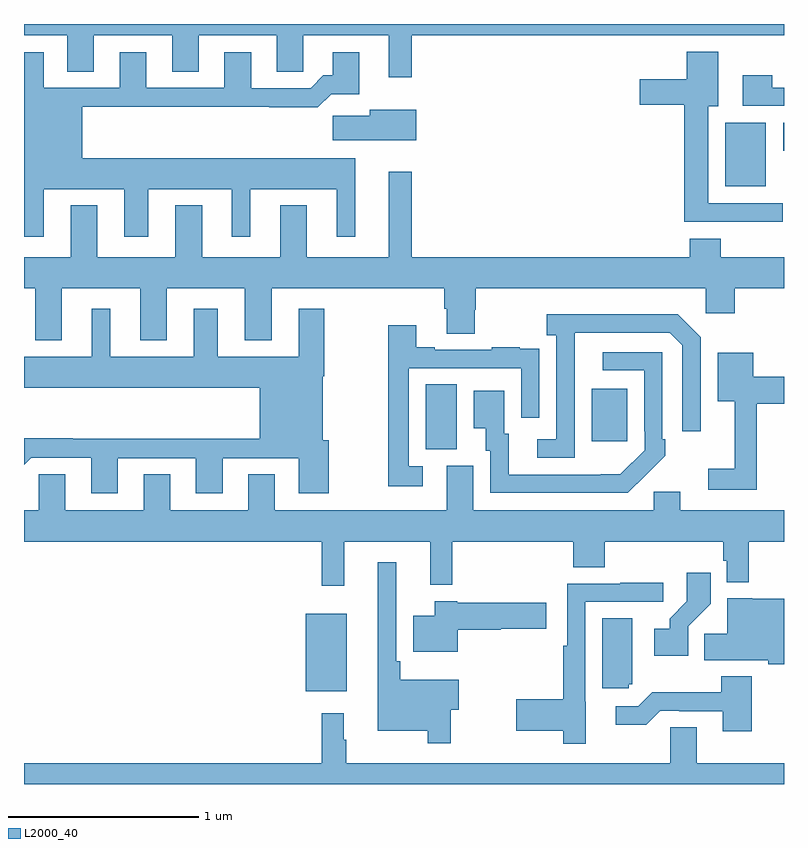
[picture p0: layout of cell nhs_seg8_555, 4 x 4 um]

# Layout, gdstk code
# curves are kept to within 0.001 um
import gdstk
lib = gdstk.Library(unit=1e-6, precision=1e-09)
def R(c, l, rs):  # rectangles x0, y0, x1, y1
    for r in rs: c.add(gdstk.rectangle(r[:2], r[2:], *l))
def P(c, l, *ps):  # polygons
    for p in ps: c.add(gdstk.Polygon(p, *l))
L2000_40 = (2000, 40)

nhs_seg8_555 = lib.new_cell('nhs_seg8_555')
R(nhs_seg8_555, L2000_40, [(148.484,1106.387,148.699,1106.797), (149.114,1107.661,149.278,1108.004), (149.987,1107.705,150.175,1107.979), (150.692,1109.045,150.904,1109.38), (150.995,1109.234,151,1109.38)])
P(nhs_seg8_555, L2000_40, [(149.041,1109.84),(151,1109.84),(151,1109.9),(147,1109.9),(147,1109.84),(147.227,1109.84),(147.227,1109.65),(147.367,1109.65),(147.367,1109.84),(147.779,1109.84),(147.779,1109.65),(147.919,1109.65),(147.919,1109.84),(148.331,1109.84),(148.331,1109.65),(148.47,1109.65),(148.47,1109.84),(148.919,1109.84),(148.919,1109.619),(149.041,1109.619)],
  [(150.994,1108.956),(150.601,1108.956),(150.601,1109.468),(150.655,1109.468),(150.655,1109.755),(150.488,1109.755),(150.488,1109.608),(150.24,1109.608),(150.24,1109.474),(150.476,1109.474),(150.476,1108.859),(150.994,1108.859)],
  [(147.103,1109.03),(147.527,1109.03),(147.527,1108.779),(147.655,1108.779),(147.655,1109.03),(148.094,1109.03),(148.094,1108.779),(148.192,1108.779),(148.192,1109.03),(148.646,1109.03),(148.646,1108.779),(148.744,1108.779),(148.744,1109.194),(147.307,1109.194),(147.307,1109.464),(148.291,1109.464),(148.291,1109.462),(148.547,1109.462),(148.616,1109.531),(148.765,1109.531),(148.765,1109.752),(148.625,1109.752),(148.625,1109.629),(148.576,1109.629),(148.509,1109.562),(148.195,1109.562),(148.195,1109.752),(148.055,1109.752),(148.055,1109.565),(147.643,1109.565),(147.643,1109.752),(147.503,1109.752),(147.503,1109.565),(147.103,1109.565),(147.103,1109.752),(147,1109.752),(147,1108.779),(147.103,1108.779)],
  [(151,1109.565),(150.939,1109.565),(150.939,1109.629),(150.783,1109.629),(150.783,1109.469),(151,1109.469)],
  [(149.065,1109.449),(148.82,1109.449),(148.82,1109.417),(148.626,1109.417),(148.626,1109.288),(149.065,1109.288)],
  [(147.199,1108.508),(147.611,1108.508),(147.611,1108.235),(147.751,1108.235),(147.751,1108.508),(148.163,1108.508),(148.163,1108.235),(148.303,1108.235),(148.303,1108.508),(149.213,1108.508),(149.213,1108.402),(149.225,1108.402),(149.225,1108.27),(149.373,1108.27),(149.373,1108.395),(149.378,1108.395),(149.378,1108.508),(150.588,1108.508),(150.588,1108.377),(150.74,1108.377),(150.74,1108.508),(151,1108.508),(151,1108.672),(150.668,1108.672),(150.668,1108.771),(150.503,1108.771),(150.503,1108.672),(149.041,1108.672),(149.041,1109.122),(148.919,1109.122),(148.919,1108.672),(148.489,1108.672),(148.489,1108.945),(148.349,1108.945),(148.349,1108.672),(147.937,1108.672),(147.937,1108.945),(147.797,1108.945),(147.797,1108.672),(147.385,1108.672),(147.385,1108.945),(147.245,1108.945),(147.245,1108.672),(147,1108.672),(147,1108.508),(147.059,1108.508),(147.059,1108.235),(147.199,1108.235)],
  [(147.493,1107.615),(147.905,1107.615),(147.905,1107.429),(148.045,1107.429),(148.045,1107.615),(148.445,1107.615),(148.445,1107.429),(148.605,1107.429),(148.605,1107.708),(148.573,1107.708),(148.573,1108.046),(148.581,1108.046),(148.581,1108.402),(148.445,1108.402),(148.445,1108.15),(148.021,1108.15),(148.021,1108.402),(147.893,1108.402),(147.893,1108.15),(147.454,1108.15),(147.454,1108.402),(147.356,1108.402),(147.356,1108.15),(147,1108.15),(147,1107.986),(148.241,1107.986),(148.241,1107.716),(147.257,1107.716),(147.257,1107.719),(147.002,1107.719),(147,1107.717),(147,1107.579),(147.039,1107.618),(147.353,1107.618),(147.353,1107.429),(147.493,1107.429)],
  [(149.898,1108.075),(149.899,1108.275),(150.399,1108.275),(150.465,1108.209),(150.465,1107.756),(150.561,1107.756),(150.561,1108.251),(150.44,1108.372),(149.751,1108.372),(149.751,1108.262),(149.802,1108.262),(149.802,1107.714),(149.7,1107.714),(149.7,1107.618),(149.898,1107.618)],
  [(149.098,1107.573),(149.025,1107.573),(149.025,1108.089),(149.616,1108.089),(149.616,1107.828),(149.712,1107.828),(149.712,1108.082),(149.711,1108.082),(149.711,1108.191),(149.609,1108.191),(149.609,1108.198),(149.461,1108.198),(149.461,1108.185),(149.161,1108.185),(149.161,1108.198),(149.065,1108.198),(149.065,1108.315),(148.917,1108.315),(148.917,1107.468),(149.098,1107.468)],
  [(150.269,1107.523),(150.27,1107.522),(150.375,1107.627),(150.375,1107.715),(150.36,1107.715),(150.36,1108.173),(150.045,1108.173),(150.045,1108.077),(150.264,1108.077),(150.264,1107.757),(150.267,1107.757),(150.267,1107.657),(150.139,1107.529),(149.551,1107.528),(149.551,1107.744),(149.527,1107.744),(149.527,1107.97),(149.366,1107.97),(149.366,1107.773),(149.429,1107.773),(149.429,1107.654),(149.454,1107.654),(149.454,1107.432),(150.178,1107.432)],
  [(150.857,1107.902),(151,1107.902),(151,1108.044),(150.838,1108.044),(150.838,1108.171),(150.65,1108.171),(150.65,1107.914),(150.74,1107.914),(150.74,1107.559),(150.6,1107.559),(150.6,1107.45),(150.857,1107.45)],
  [(148.685,1107.176),(149.138,1107.176),(149.138,1106.948),(149.255,1106.948),(149.255,1107.176),(149.891,1107.176),(149.891,1107.04),(150.056,1107.04),(150.056,1107.176),(150.679,1107.176),(150.679,1107.075),(150.699,1107.075),(150.699,1106.963),(150.815,1106.963),(150.815,1107.176),(151,1107.176),(151,1107.34),(150.454,1107.34),(150.454,1107.438),(150.315,1107.438),(150.315,1107.34),(149.365,1107.34),(149.365,1107.576),(149.225,1107.576),(149.225,1107.34),(148.321,1107.34),(148.321,1107.53),(148.181,1107.53),(148.181,1107.34),(147.769,1107.34),(147.769,1107.53),(147.629,1107.53),(147.629,1107.34),(147.217,1107.34),(147.217,1107.53),(147.078,1107.53),(147.078,1107.34),(147,1107.34),(147,1107.176),(148.567,1107.176),(148.567,1106.943),(148.685,1106.943)],
  [(149.245,1106.291),(149.287,1106.291),(149.287,1106.449),(148.979,1106.449),(148.979,1106.545),(148.959,1106.545),(148.959,1107.067),(148.862,1107.067),(148.862,1106.18),(149.124,1106.18),(149.124,1106.115),(149.245,1106.115)],
  [(150.495,1106.731),(150.614,1106.85),(150.614,1107.013),(150.489,1107.013),(150.489,1106.861),(150.398,1106.771),(150.398,1106.716),(150.318,1106.716),(150.318,1106.576),(150.495,1106.576)],
  [(149.956,1106.334),(149.955,1106.334),(149.955,1106.859),(150.364,1106.859),(150.364,1106.958),(150.139,1106.958),(150.139,1106.955),(149.859,1106.955),(149.859,1106.627),(149.839,1106.627),(149.839,1106.346),(149.592,1106.346),(149.592,1106.18),(149.839,1106.18),(149.839,1106.112),(149.956,1106.112)],
  [(151,1106.875),(150.834,1106.875),(150.834,1106.878),(150.701,1106.878),(150.701,1106.69),(150.58,1106.69),(150.58,1106.552),(150.918,1106.552),(150.918,1106.531),(151,1106.531)],
  [(149.284,1106.711),(149.508,1106.711),(149.508,1106.716),(149.749,1106.716),(149.749,1106.853),(149.28,1106.853),(149.28,1106.863),(149.162,1106.863),(149.162,1106.785),(149.048,1106.785),(149.048,1106.597),(149.284,1106.597)],
  [(150.183,1106.424),(150.202,1106.424),(150.202,1106.773),(150.044,1106.773),(150.044,1106.403),(150.183,1106.403)],
  [(150.83,1106.467),(150.67,1106.467),(150.67,1106.383),(150.307,1106.383),(150.234,1106.31),(150.114,1106.31),(150.114,1106.213),(150.275,1106.213),(150.348,1106.286),(150.448,1106.286),(150.448,1106.283),(150.677,1106.283),(150.677,1106.178),(150.83,1106.178)],
  [(151,1106.008),(150.541,1106.008),(150.541,1106.198),(150.402,1106.198),(150.402,1106.008),(148.696,1106.008),(148.696,1106.132),(148.684,1106.132),(148.684,1106.272),(148.567,1106.272),(148.567,1106.008),(147,1106.008),(147,1105.9),(151,1105.9)])

lib.write_gds('nhs_seg8_555.gds')
